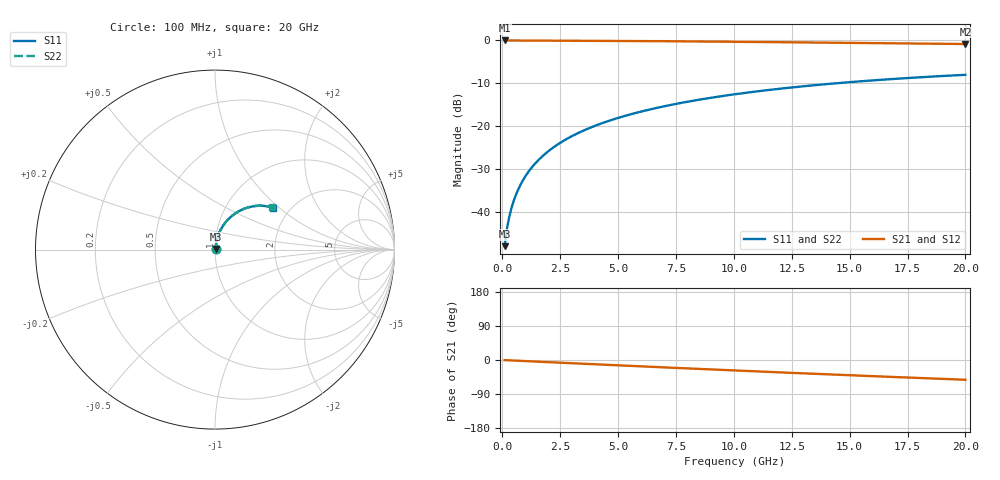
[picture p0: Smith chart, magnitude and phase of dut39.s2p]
! Touchstone file exported from HFSS 2026.1.0
!  File:  C:/ffzhzh/LocalFiles/Ansys_Project_Files/temp_train_TMRDL_39_1782880657_8056.aedt
!  Generated:  12:39:01 PM Jul  1, 2026
!  Design:  TMRDL
!  Project:  temp_train_TMRDL_39_1782880657_8056
! Variables:
!  h_bsmrdl = 2um
!  h_ox = 20um
!  h_rdl = 5um
!  h_sub = 80um
!  h_tmrdl = 3.97um
!  h_tsv = 80um
!  h_via = 3um
!  l_bsmrdl = 300um
!  l_sub = 1215.7um
!  l_tmrdl = 815.7um
!  m_sub = 200um
!  pitch = 54.63um
!  r_tsv = 6um
!  s_tmrdl = 10um
!  w_bsmrdl = 18um
!  w_sub = 500um
!  w_tmrdl = 28.8um
!  x_tsv_center1 = 830.1um
!  x_tsv_center2 = 1148.1um
!  x_tsv_center3 = 1992.6um
!  x_tsv_center4 = 2310.6um
!  x_tsv_center5 = 3155.1um
!  x_tsv_center6 = 3473.1um
# GHz S MA R 50.000000
! Terminal data exported
! Port[1] = TM_RDL1_1_T1
! Port[2] = TM_RDL1_1_T2
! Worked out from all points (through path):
!   200 points, 100 MHz to 20 GHz, reference 50 ohm
!   highest |S21| = -0.02 dB at 100 MHz (marker M1); lowest = -0.9 dB at 20 GHz (marker M2)
!   group delay of S21, straight-line fit = 7.25 ps
!   lowest |S11| = -47.9 dB at 100 MHz (marker M3), VSWR 1.01, Z = 50.3 + j0.291 ohm
!   |S11| at or under -10 dB: start of sweep to 14.39 GHz
!   |S22| runs from -47.9 to -8.0 dB; largest |S21 - S12| = 9.7e-15
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0.1  0.004022 45.9  0.9972 -0.3  0.9972 -0.3  0.004022 45.9
! Gamma 0 0 0 0
! Port Impedance 50 0 50 0
0.2  0.006389 61.2  0.997 -0.6  0.997 -0.6  0.006389 61.2
0.3  0.00883 67.7  0.9967 -0.9  0.9967 -0.9  0.00883 67.7
0.4  0.01127 71.5  0.9966 -1.2  0.9966 -1.2  0.01127 71.5
0.5  0.01373 74.0  0.9965 -1.5  0.9965 -1.5  0.01373 74.0
0.6  0.01621 75.7  0.9963 -1.7  0.9963 -1.7  0.01621 75.7
0.8  0.02121 77.8  0.9961 -2.3  0.9961 -2.3  0.02121 77.8
1.1  0.02878 79.3  0.9958 -3.2  0.9958 -3.2  0.02878 79.3
1.5  0.03891 79.9  0.9953 -4.3  0.9953 -4.3  0.03891 79.9
1.8  0.0465 79.8  0.9948 -5.1  0.9948 -5.1  0.0465 79.8
2.1  0.05408 79.5  0.9943 -6.0  0.9943 -6.0  0.05407 79.5
2.7  0.06913 78.5  0.993 -7.7  0.993 -7.7  0.06912 78.5
3.5  0.08893 76.7  0.9909 -9.9  0.9909 -9.9  0.08892 76.8
4.2  0.106 75.0  0.9887 -11.9  0.9887 -11.9  0.106 75.1
5  0.1251 73.0  0.9859 -14.1  0.9859 -14.1  0.1251 73.1
5.9  0.1461 70.7  0.9823 -16.5  0.9823 -16.5  0.1461 70.8
6.8  0.1666 68.4  0.9785 -19.0  0.9785 -19.0  0.1666 68.5
8.3  0.1995 64.5  0.9715 -23.0  0.9715 -23.0  0.1995 64.6
10.1  0.2369 60.0  0.9623 -27.8  0.9623 -27.8  0.2369 60.1
13.4  0.2992 51.8  0.9439 -36.2  0.9439 -36.2  0.2991 51.9
16.7  0.3527 43.8  0.9249 -44.4  0.9249 -44.4  0.3526 44.0
20  0.3972 36.2  0.9065 -52.2  0.9065 -52.2  0.3971 36.4
